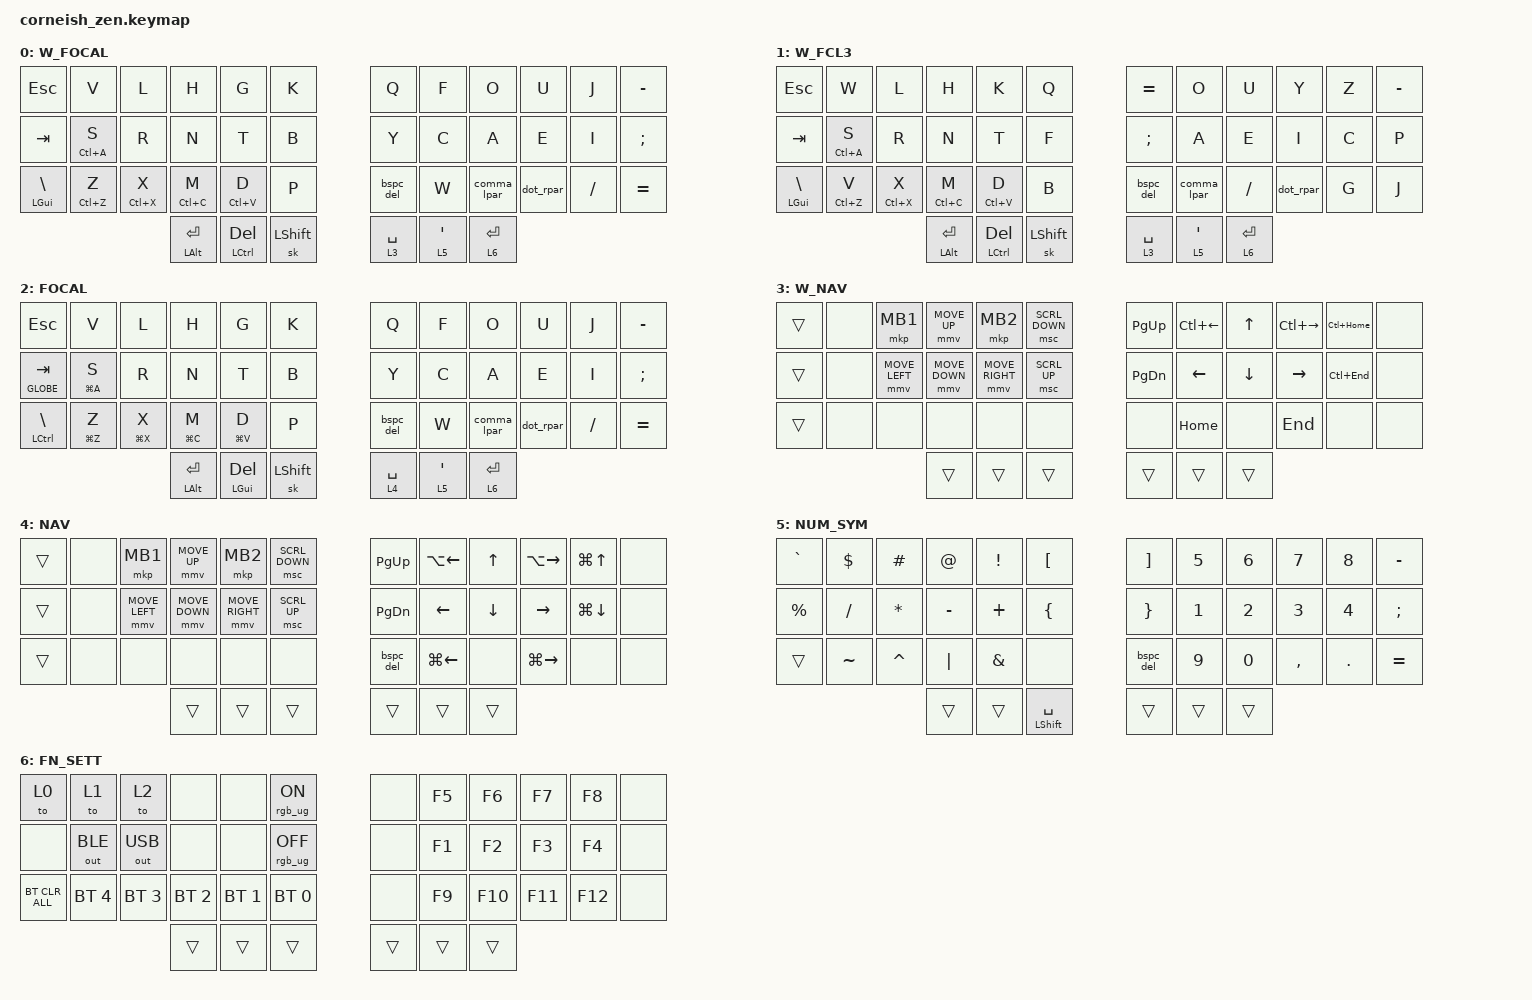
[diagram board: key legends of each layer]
/*
 * Copyright (c) 2020 The ZMK Contributors
 *
 * SPDX-License-Identifier: MIT
 */

#define ZMK_POINTING_DEFAULT_MOVE_VAL 1200  // default: 600
#define ZMK_POINTING_DEFAULT_SCRL_VAL 20    // default: 10

#include <behaviors.dtsi>
#include <dt-bindings/zmk/bt.h>
#include <dt-bindings/zmk/keys.h>
#include <dt-bindings/zmk/outputs.h>
#include <dt-bindings/zmk/pointing.h>
#include <dt-bindings/zmk/rgb.h>

&mmv {
    x-input-code = <INPUT_REL_X>;
    y-input-code = <INPUT_REL_Y>;
    time-to-max-speed-ms = <500>;  // default: 300
    acceleration-exponent = <2>;
    delay-ms = <0>;
    trigger-period-ms = <16>;
};

/ {
    chosen {
        zmk,matrix_transform = &default_transform;

        // zmk,matrix_transform = &five_column_transform;
    };
};

&sk {
    release-after-ms = <800>;
    quick-release;
};

/ {
    behaviors {
        my_mt: my_hold_tap {
            compatible = "zmk,behavior-hold-tap";
            label = "MY_MT";
            bindings = <&my_kp_macro>, <&kp>;

            #binding-cells = <2>;
            tapping-term-ms = <300>;
            flavor = "tap-preferred";
        };

        tog_on: toggle_layer_on_only {
            compatible = "zmk,behavior-toggle-layer";
            label = "Toggle Layer On";
            #binding-cells = <1>;
            toggle-mode = "on";
        };

        my_hold_sk: my_hold_sk {
            compatible = "zmk,behavior-hold-tap";
            label = "MY_HOLD_SK";
            bindings = <&kp>, <&my_quick_sk>;

            #binding-cells = <2>;
            tapping-term-ms = <500>;
            flavor = "tap-preferred";
        };

        my_quick_sk: my_quick_sk {
            compatible = "zmk,behavior-sticky-key";
            label = "MY_QUICK_SK";
            bindings = <&kp>;
            #binding-cells = <1>;
            quick-release;
            release-after-ms = <1000>;
        };

        comma_lpar: comma_lpar {
            compatible = "zmk,behavior-mod-morph";
            label = "COMMA_LPAR";
            bindings = <&my_mt LESS_THAN COMMA>, <&my_mt LESS_THAN LPAR>;

            #binding-cells = <0>;
            mods = <(MOD_LSFT|MOD_RSFT)>;
            keep-mods = <(MOD_LSFT|MOD_RSFT)>;
        };

        dot_rpar: dot_rpar {
            compatible = "zmk,behavior-mod-morph";
            label = "DOT_RPAR";
            bindings = <&my_mt GREATER_THAN DOT>, <&my_mt GREATER_THAN RPAR>;

            #binding-cells = <0>;
            mods = <(MOD_LSFT|MOD_RSFT)>;
            keep-mods = <(MOD_LSFT|MOD_RSFT)>;
        };

        bspc_del: bspc_del {
            compatible = "zmk,behavior-mod-morph";
            label = "BSPC_DEL";
            bindings = <&kp BACKSPACE>, <&kp DELETE>;

            #binding-cells = <0>;
            mods = <(MOD_LSFT|MOD_RSFT)>;
        };

        my_gresc: my_gresc {
            compatible = "zmk,behavior-mod-morph";
            label = "MY_GRESC";
            bindings = <&kp ESCAPE>, <&kp GRAVE>;

            #binding-cells = <0>;
            mods = <(MOD_LGUI|MOD_RGUI)>;
        };
    };

    combos {
        compatible = "zmk,combos";

        bootloader {
            bindings = <&bootloader>;
            key-positions = <24 25 26>;
        };

        reset_system {
            bindings = <&sys_reset>;
            key-positions = <25 26 27>;
        };

        spotlight {
            bindings = <&kp LG(SPACE)>;
            key-positions = <3 4>;
            layers = <4>;
        };

        win_start {
            bindings = <&kp LEFT_GUI>;
            key-positions = <3 4>;
            layers = <3>;
        };

        screenshot_mac {
            bindings = <&kp LS(LG(NUMBER_4))>;
            key-positions = <2 3>;
            layers = <4>;
        };

        screenshot_win {
            bindings = <&kp LS(LG(S))>;
            key-positions = <2 3>;
            layers = <3>;
        };

        play_pause {
            bindings = <&kp C_PLAY_PAUSE>;
            key-positions = <6 7>;
            layers = <3 4>;
        };

        mute {
            bindings = <&kp K_MUTE>;
            key-positions = <7 8>;
            layers = <3 4>;
        };

        volume_decrease {
            bindings = <&kp C_VOLUME_DOWN>;
            key-positions = <8 9>;
            layers = <3 4>;
        };

        volume_increase {
            bindings = <&kp C_VOLUME_UP>;
            key-positions = <9 10>;
            layers = <3 4>;
        };
    };

    macros {
        my_kp_macro: my_kp_macro {
            compatible = "zmk,behavior-macro-one-param";
            #binding-cells = <1>;
            bindings = <&macro_param_1to1 &kp MACRO_PLACEHOLDER>;
            label = "MY_KP_MACRO";
        };
    };

    keymap {
        compatible = "zmk,keymap";

        win_focal_layer {
            bindings = <
&kp ESC                 &kp V           &kp L           &kp H               &kp G                    &kp K             &kp Q        &kp F               &kp O        &kp U      &kp J     &kp MINUS
&kp TAB                 &my_mt LC(A) S  &kp R           &kp N               &kp T                    &kp B             &kp Y        &kp C               &kp A        &kp E      &kp I     &kp SEMI
&mt LEFT_GUI BACKSLASH  &my_mt LC(Z) Z  &my_mt LC(X) X  &my_mt LC(C) M      &my_mt LC(V) D           &kp P             &bspc_del    &kp W               &comma_lpar  &dot_rpar  &kp FSLH  &kp EQUAL
                                                        &mt LEFT_ALT ENTER  &mt LEFT_CONTROL DELETE  &sk LEFT_SHIFT    &lt 3 SPACE  &lt 5 SINGLE_QUOTE  &lt 6 ENTER
            >;

            label = "W_FOCAL";
        };

        win_focal_mod3 {
            label = "W_FCL3";
            bindings = <
&kp ESC                 &kp W           &kp L           &kp H               &kp K                    &kp Q             &kp EQUAL    &kp O               &kp U        &kp Y      &kp Z  &kp MINUS
&kp TAB                 &my_mt LC(A) S  &kp R           &kp N               &kp T                    &kp F             &kp SEMI     &kp A               &kp E        &kp I      &kp C  &kp P
&mt LEFT_GUI BACKSLASH  &my_mt LC(Z) V  &my_mt LC(X) X  &my_mt LC(C) M      &my_mt LC(V) D           &kp B             &bspc_del    &comma_lpar         &kp FSLH     &dot_rpar  &kp G  &kp J
                                                        &mt LEFT_ALT ENTER  &mt LEFT_CONTROL DELETE  &sk LEFT_SHIFT    &lt 3 SPACE  &lt 5 SINGLE_QUOTE  &lt 6 ENTER
            >;
        };

        mac_focal_layer {
            bindings = <
&kp ESC              &kp V           &kp L           &kp H               &kp G                &kp K             &kp Q        &kp F               &kp O        &kp U      &kp J      &kp MINUS
&mt GLOBE TAB        &my_mt LG(A) S  &kp R           &kp N               &kp T                &kp B             &kp Y        &kp C               &kp A        &kp E      &kp I      &kp SEMI
&mt LCTRL BACKSLASH  &my_mt LG(Z) Z  &my_mt LG(X) X  &my_mt LG(C) M      &my_mt LG(V) D       &kp P             &bspc_del    &kp W               &comma_lpar  &dot_rpar  &kp SLASH  &kp EQUAL
                                                     &mt LEFT_ALT ENTER  &mt LEFT_GUI DELETE  &sk LEFT_SHIFT    &lt 4 SPACE  &lt 5 SINGLE_QUOTE  &lt 6 ENTER
            >;

            label = "FOCAL";
        };

        win_navigation_layer {
            bindings = <
&trans  &none  &mkp MB1        &mmv MOVE_UP    &mkp MB2         &msc SCRL_DOWN    &kp PAGE_UP    &kp LC(LEFT)  &kp UP_ARROW  &kp LC(RIGHT)  &kp LC(HOME)  &none
&trans  &none  &mmv MOVE_LEFT  &mmv MOVE_DOWN  &mmv MOVE_RIGHT  &msc SCRL_UP      &kp PAGE_DOWN  &kp LEFT      &kp DOWN      &kp RIGHT      &kp LC(END)   &none
&trans  &none  &none           &none           &none            &none             &none          &kp HOME      &none         &kp END        &none         &none
                               &trans          &trans           &trans            &trans         &trans        &trans
            >;

            label = "W_NAV";
        };

        mac_navigation_layer {
            bindings = <
&trans  &none  &mkp MB1        &mmv MOVE_UP    &mkp MB2         &msc SCRL_DOWN    &kp PAGE_UP    &kp LA(LEFT)  &kp UP_ARROW  &kp LA(RIGHT)  &kp LG(UP_ARROW)    &none
&trans  &none  &mmv MOVE_LEFT  &mmv MOVE_DOWN  &mmv MOVE_RIGHT  &msc SCRL_UP      &kp PAGE_DOWN  &kp LEFT      &kp DOWN      &kp RIGHT      &kp LG(DOWN_ARROW)  &none
&trans  &none  &none           &none           &none            &none             &bspc_del      &kp LG(LEFT)  &none         &kp LG(RIGHT)  &none               &none
                               &trans          &trans           &trans            &trans         &trans        &trans
            >;

            label = "NAV";
        };

        num_sym_layer {
            label = "NUM_SYM";
            bindings = <
&kp GRAVE    &kp DOLLAR  &kp HASH      &kp AT     &kp EXCLAMATION  &kp LEFT_BRACKET        &kp RIGHT_BRACKET  &kp N5  &kp N6        &kp N7     &kp N8        &kp MINUS
&kp PERCENT  &kp SLASH   &kp ASTERISK  &kp MINUS  &kp PLUS         &kp LEFT_BRACE          &kp RIGHT_BRACE    &kp N1  &kp N2        &kp N3     &kp NUMBER_4  &kp SEMICOLON
&trans       &kp TILDE   &kp CARET     &kp PIPE   &kp AMPERSAND    &none                   &bspc_del          &kp N9  &kp NUMBER_0  &kp COMMA  &kp DOT       &kp EQUAL
                                       &trans     &trans           &mt LEFT_SHIFT SPACE    &trans             &trans  &trans
            >;
        };

        fn_settings_layer {
            bindings = <
&to 0           &to 1         &to 2         &none         &none         &rgb_ug RGB_ON     &none   &kp F5  &kp F6   &kp F7   &kp F8   &none
&none           &out OUT_BLE  &out OUT_USB  &none         &none         &rgb_ug RGB_OFF    &none   &kp F1  &kp F2   &kp F3   &kp F4   &none
&bt BT_CLR_ALL  &bt BT_SEL 4  &bt BT_SEL 3  &bt BT_SEL 2  &bt BT_SEL 1  &bt BT_SEL 0       &none   &kp F9  &kp F10  &kp F11  &kp F12  &none
                                            &trans        &trans        &trans             &trans  &trans  &trans
            >;

            label = "FN_SETT";
        };
    };

    conditional_layers { compatible = "zmk,conditional-layers"; };
};
